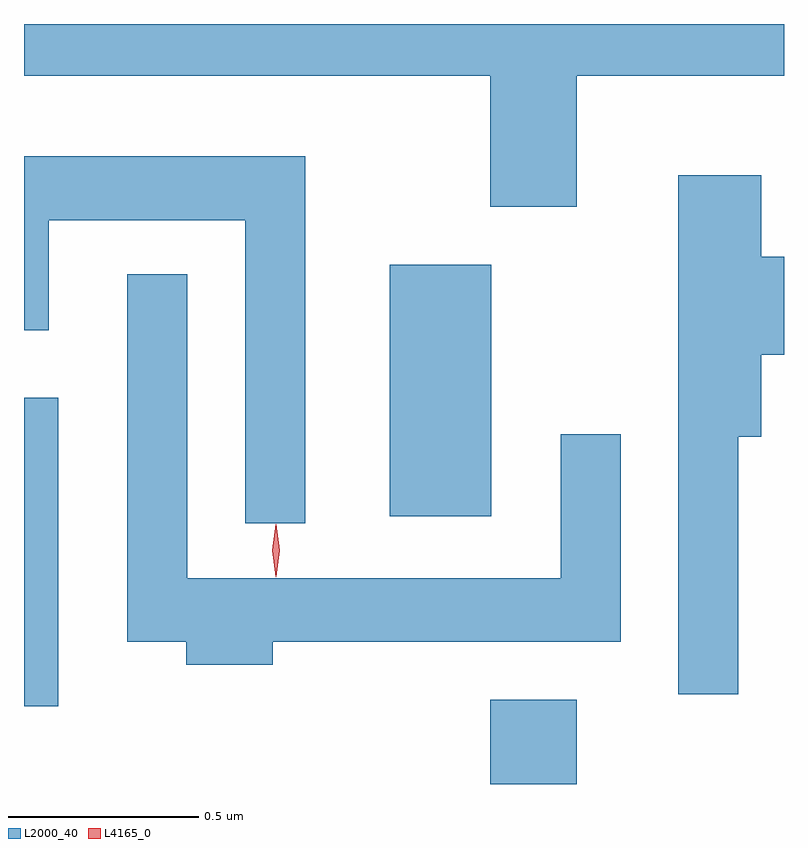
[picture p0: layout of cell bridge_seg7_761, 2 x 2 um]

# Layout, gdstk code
import gdstk
lib = gdstk.Library(unit=1e-6, precision=1e-09)
def R(c, l, rs):  # rectangles x0, y0, x1, y1
    for r in rs: c.add(gdstk.rectangle(r[:2], r[2:], *l))
def P(c, l, *ps):  # polygons
    for p in ps: c.add(gdstk.Polygon(p, *l))
L2000_40 = (2000, 40)
L4165_0 = (4165, 0)

bridge_seg7_761 = lib.new_cell('bridge_seg7_761')
R(bridge_seg7_761, L2000_40, [(567.391,1783.492,567.619,1783.714), (566.164,1783.696,566.254,1784.509), (567.126,1784.196,567.394,1784.859)])
P(bridge_seg7_761, L2000_40, [(567.619,1785.356),(568.164,1785.356),(568.164,1785.492),(566.164,1785.492),(566.164,1785.356),(567.391,1785.356),(567.391,1785.011),(567.619,1785.011)],
  [(566.904,1785.144),(566.164,1785.144),(566.164,1784.686),(566.229,1784.686),(566.229,1784.976),(566.746,1784.976),(566.746,1784.178),(566.904,1784.178)],
  [(568.044,1784.406),(568.104,1784.406),(568.104,1784.621),(568.164,1784.621),(568.164,1784.879),(568.104,1784.879),(568.104,1785.094),(567.886,1785.094),(567.886,1783.728),(568.044,1783.728)],
  [(566.819,1783.866),(567.734,1783.866),(567.734,1784.413),(567.576,1784.413),(567.576,1784.034),(566.594,1784.034),(566.594,1784.833),(566.436,1784.833),(566.436,1783.866),(566.591,1783.866),(566.591,1783.806),(566.819,1783.806)])
P(bridge_seg7_761, L4165_0, [(566.827,1784.037),(566.827,1784.038),(566.817,1784.107),(566.827,1784.176),(566.827,1784.176),(566.828,1784.176),(566.837,1784.107),(566.828,1784.038)],
  [(566.827,1784.04),(566.827,1784.04),(566.817,1784.106),(566.826,1784.172),(566.827,1784.173),(566.827,1784.172),(566.837,1784.106),(566.828,1784.04)])

lib.write_gds('bridge_seg7_761.gds')
